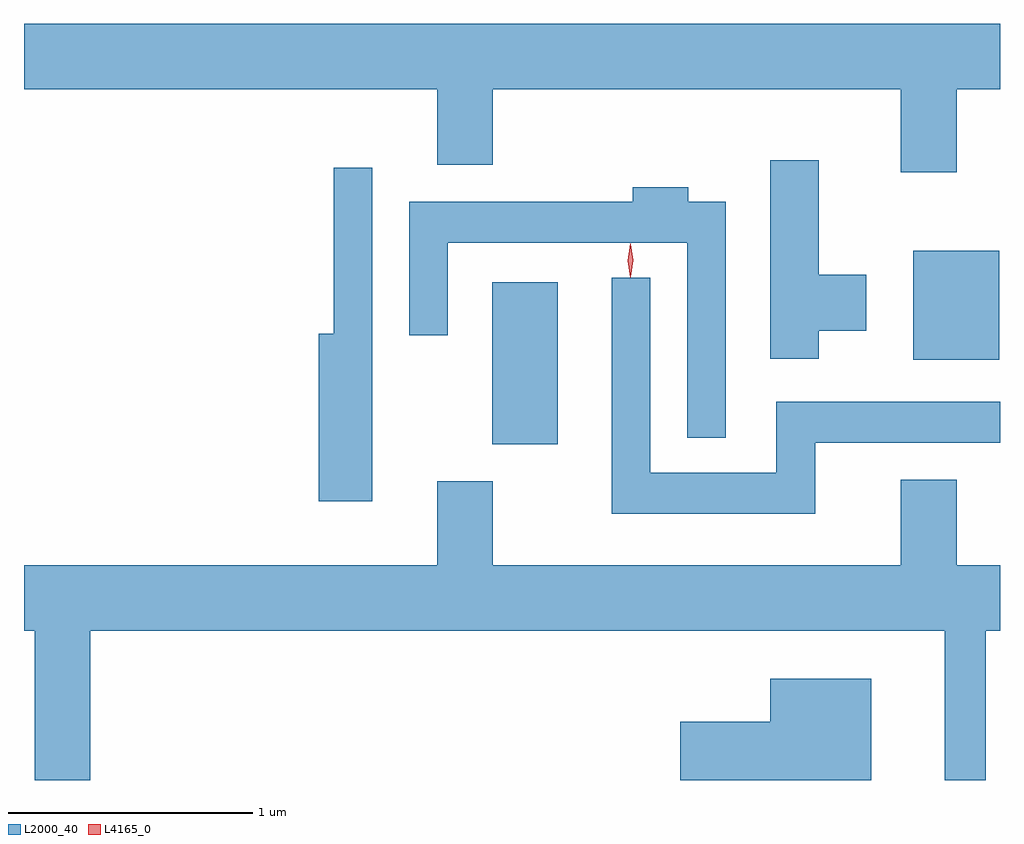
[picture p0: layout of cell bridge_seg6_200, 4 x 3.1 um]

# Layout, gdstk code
import gdstk
lib = gdstk.Library(unit=1e-6, precision=1e-09)
def R(c, l, rs):  # rectangles x0, y0, x1, y1
    for r in rs: c.add(gdstk.rectangle(r[:2], r[2:], *l))
def P(c, l, *ps):  # polygons
    for p in ps: c.add(gdstk.Polygon(p, *l))
L2000_40 = (2000, 40)
L4165_0 = (4165, 0)

bridge_seg6_200 = lib.new_cell('bridge_seg6_200')
R(bridge_seg6_200, L2000_40, [(1082.176,1550.801,1082.444,1551.464), (1083.901,1551.146,1084.254,1551.594)])
P(bridge_seg6_200, L2000_40, [(1084.079,1552.256),(1084.257,1552.256),(1084.257,1552.524),(1080.257,1552.524),(1080.257,1552.256),(1081.951,1552.256),(1081.951,1551.946),(1082.179,1551.946),(1082.179,1552.256),(1083.851,1552.256),(1083.851,1551.916),(1084.079,1551.916)],
  [(1083.514,1551.266),(1083.709,1551.266),(1083.709,1551.494),(1083.514,1551.494),(1083.514,1551.964),(1083.316,1551.964),(1083.316,1551.151),(1083.514,1551.151)],
  [(1081.684,1551.933),(1081.526,1551.933),(1081.526,1551.254),(1081.466,1551.254),(1081.466,1550.566),(1081.684,1550.566)],
  [(1083.134,1551.794),(1082.979,1551.794),(1082.979,1551.854),(1082.751,1551.854),(1082.751,1551.794),(1081.836,1551.794),(1081.836,1551.248),(1081.994,1551.248),(1081.994,1551.626),(1082.976,1551.626),(1082.976,1550.828),(1083.134,1550.828)],
  [(1083.499,1550.806),(1084.257,1550.806),(1084.257,1550.974),(1083.341,1550.974),(1083.341,1550.684),(1082.824,1550.684),(1082.824,1551.483),(1082.666,1551.483),(1082.666,1550.516),(1083.499,1550.516)],
  [(1080.529,1550.036),(1084.031,1550.036),(1084.031,1549.423),(1084.199,1549.423),(1084.199,1550.036),(1084.257,1550.036),(1084.257,1550.304),(1084.079,1550.304),(1084.079,1550.654),(1083.851,1550.654),(1083.851,1550.304),(1082.179,1550.304),(1082.179,1550.649),(1081.951,1550.649),(1081.951,1550.304),(1080.257,1550.304),(1080.257,1550.036),(1080.301,1550.036),(1080.301,1549.423),(1080.529,1549.423)],
  [(1083.729,1549.839),(1083.316,1549.839),(1083.316,1549.664),(1082.946,1549.664),(1082.946,1549.423),(1083.729,1549.423)])
P(bridge_seg6_200, L4165_0, [(1082.744,1551.487),(1082.744,1551.487),(1082.734,1551.554),(1082.744,1551.62),(1082.744,1551.621),(1082.744,1551.62),(1082.754,1551.554),(1082.744,1551.487)],
  [(1082.742,1551.483),(1082.742,1551.484),(1082.732,1551.553),(1082.742,1551.622),(1082.742,1551.623),(1082.743,1551.622),(1082.752,1551.553),(1082.743,1551.484)])

lib.write_gds('bridge_seg6_200.gds')
